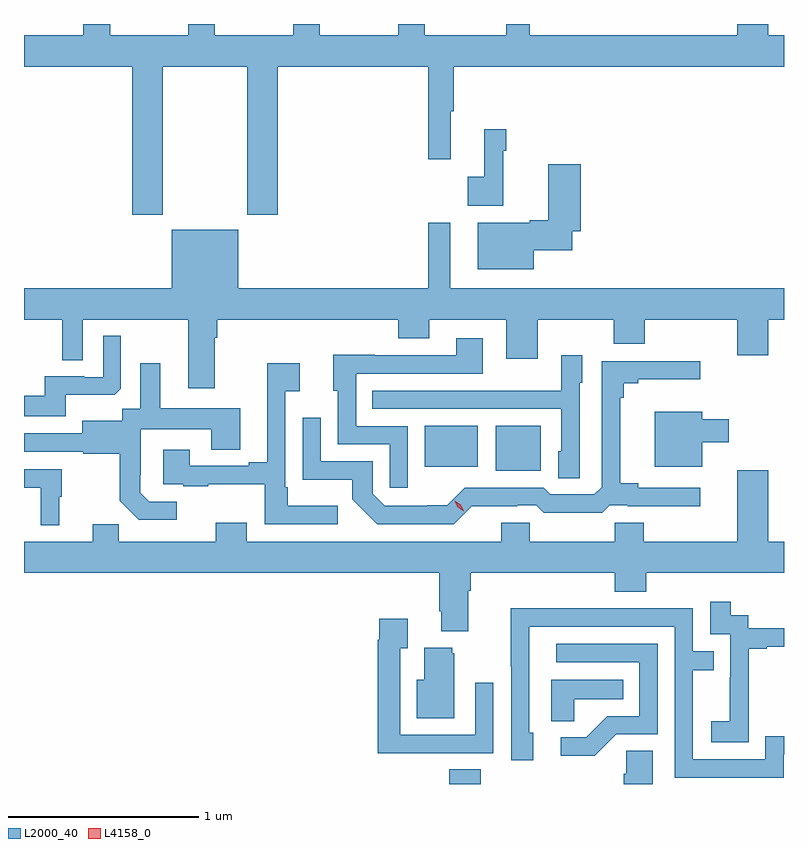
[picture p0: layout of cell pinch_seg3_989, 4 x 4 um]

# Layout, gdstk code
import gdstk
lib = gdstk.Library(unit=1e-6, precision=1e-09)
def R(c, l, rs):  # rectangles x0, y0, x1, y1
    for r in rs: c.add(gdstk.rectangle(r[:2], r[2:], *l))
def P(c, l, *ps):  # polygons
    for p in ps: c.add(gdstk.Polygon(p, *l))
L2000_40 = (2000, 40)
L4158_0 = (4158, 0)

pinch_seg3_989 = lib.new_cell('pinch_seg3_989')
R(pinch_seg3_989, L2000_40, [(451.205,683.82,451.37,683.897), (451.448,685.469,451.687,685.705), (451.076,685.49,451.354,685.705)])
P(pinch_seg3_989, L2000_40, [(449.697,687.596),(450.142,687.596),(450.142,686.817),(450.302,686.817),(450.302,687.596),(451.093,687.596),(451.093,687.108),(451.211,687.108),(451.211,687.36),(451.229,687.36),(451.229,687.596),(452.966,687.596),(452.966,687.76),(452.884,687.76),(452.884,687.82),(452.72,687.82),(452.72,687.76),(451.627,687.76),(451.627,687.82),(451.505,687.82),(451.505,687.76),(451.075,687.76),(451.075,687.82),(450.935,687.82),(450.935,687.76),(450.523,687.76),(450.523,687.82),(450.383,687.82),(450.383,687.76),(449.971,687.76),(449.971,687.82),(449.831,687.82),(449.831,687.76),(449.419,687.76),(449.419,687.82),(449.279,687.82),(449.279,687.76),(448.966,687.76),(448.966,687.596),(449.537,687.596),(449.537,686.817),(449.697,686.817)],
  [(451.488,687.152),(451.505,687.152),(451.505,687.265),(451.388,687.265),(451.388,687.017),(451.302,687.017),(451.302,686.864),(451.488,686.864)],
  [(451.648,686.63),(451.852,686.63),(451.852,686.729),(451.895,686.729),(451.895,687.082),(451.724,687.082),(451.724,686.786),(451.628,686.786),(451.628,686.773),(451.355,686.773),(451.355,686.528),(451.648,686.528)],
  [(449.971,686.168),(449.984,686.168),(449.984,686.264),(450.935,686.264),(450.935,686.165),(451.099,686.165),(451.099,686.264),(451.505,686.264),(451.505,686.058),(451.669,686.058),(451.669,686.264),(452.069,686.264),(452.069,686.136),(452.233,686.136),(452.233,686.264),(452.72,686.264),(452.72,686.076),(452.884,686.076),(452.884,686.264),(452.966,686.264),(452.966,686.428),(451.21,686.428),(451.21,686.773),(451.093,686.773),(451.093,686.428),(450.094,686.428),(450.094,686.737),(449.744,686.737),(449.744,686.428),(448.966,686.428),(448.966,686.264),(449.166,686.264),(449.166,686.05),(449.274,686.05),(449.274,686.264),(449.831,686.264),(449.831,685.902),(449.971,685.902)],
  [(449.185,685.868),(449.443,685.868),(449.475,685.899),(449.475,686.179),(449.382,686.179),(449.382,685.962),(449.282,685.962),(449.282,685.965),(449.075,685.965),(449.075,685.864),(448.966,685.864),(448.966,685.755),(449.185,685.755)],
  [(450.987,685.704),(450.714,685.704),(450.714,685.98),(451.381,685.98),(451.381,686.167),(451.241,686.167),(451.241,686.076),(450.811,686.076),(450.811,686.078),(450.593,686.078),(450.593,685.89),(450.618,685.89),(450.618,685.608),(450.891,685.608),(450.891,685.38),(450.987,685.38)],
  [(451.89,685.932),(451.903,685.932),(451.903,686.077),(451.794,686.077),(451.794,685.891),(451.477,685.891),(451.477,685.89),(450.799,685.89),(450.799,685.794),(451.794,685.794),(451.794,685.572),(451.778,685.572),(451.778,685.429),(451.89,685.429)],
  [(451.322,685.283),(451.562,685.283),(451.562,685.287),(451.662,685.287),(451.702,685.248),(452.009,685.248),(452.049,685.287),(452.143,685.287),(452.143,685.283),(452.524,685.283),(452.524,685.38),(452.2,685.38),(452.2,685.403),(452.105,685.403),(452.105,685.853),(452.123,685.853),(452.123,685.93),(452.2,685.93),(452.2,685.949),(452.524,685.949),(452.524,686.046),(452.007,686.046),(452.007,685.383),(451.968,685.344),(451.737,685.344),(451.701,685.38),(451.287,685.38),(451.193,685.286),(451.088,685.286),(451.088,685.284),(450.864,685.284),(450.801,685.347),(450.801,685.518),(450.528,685.518),(450.528,685.747),(450.432,685.747),(450.432,685.421),(450.694,685.421),(450.694,685.319),(450.824,685.188),(451.227,685.188)],
  [(449.77,685.305),(449.625,685.305),(449.578,685.352),(449.578,685.447),(449.58,685.447),(449.58,685.688),(449.951,685.688),(449.951,685.579),(450.103,685.579),(450.103,685.798),(449.683,685.798),(449.683,686.035),(449.579,686.035),(449.579,685.796),(449.484,685.796),(449.484,685.732),(449.273,685.732),(449.273,685.665),(448.966,685.665),(448.966,685.569),(449.277,685.569),(449.277,685.557),(449.469,685.557),(449.469,685.311),(449.569,685.211),(449.77,685.211)],
  [(450.616,685.285),(450.355,685.285),(450.355,685.381),(450.342,685.381),(450.342,685.886),(450.418,685.886),(450.418,686.035),(450.245,686.035),(450.245,685.513),(450.149,685.513),(450.149,685.494),(449.839,685.494),(449.839,685.579),(449.699,685.579),(449.699,685.398),(449.803,685.398),(449.803,685.386),(449.935,685.386),(449.935,685.397),(450.234,685.397),(450.234,685.188),(450.616,685.188)],
  [(452.536,685.619),(452.674,685.619),(452.674,685.741),(452.536,685.741),(452.536,685.78),(452.285,685.78),(452.285,685.49),(452.536,685.49)],
  [(449.152,685.332),(449.164,685.332),(449.164,685.476),(448.966,685.476),(448.966,685.38),(449.054,685.38),(449.054,685.181),(449.152,685.181)],
  [(452.075,684.833),(452.24,684.833),(452.24,684.932),(452.966,684.932),(452.966,685.096),(452.884,685.096),(452.884,685.471),(452.72,685.471),(452.72,685.096),(452.229,685.096),(452.229,685.194),(452.074,685.194),(452.074,685.096),(451.629,685.096),(451.629,685.194),(451.478,685.194),(451.478,685.096),(450.139,685.096),(450.139,685.195),(449.975,685.195),(449.975,685.096),(449.465,685.096),(449.465,685.187),(449.327,685.187),(449.327,685.096),(448.966,685.096),(448.966,684.932),(451.151,684.932),(451.151,684.73),(451.163,684.73),(451.163,684.623),(451.303,684.623),(451.303,684.836),(451.316,684.836),(451.316,684.932),(452.075,684.932)],
  [(452.781,684.247),(452.78,684.247),(452.78,684.531),(452.875,684.531),(452.875,684.543),(452.966,684.543),(452.966,684.639),(452.778,684.639),(452.778,684.708),(452.686,684.708),(452.686,684.778),(452.577,684.778),(452.577,684.609),(452.682,684.609),(452.682,684.38),(452.681,684.38),(452.681,684.151),(452.583,684.151),(452.583,684.041),(452.781,684.041)],
  [(452.965,683.976),(452.966,683.976),(452.966,684.072),(452.868,684.072),(452.868,683.949),(452.487,683.949),(452.487,684.418),(452.597,684.418),(452.597,684.519),(452.487,684.519),(452.487,684.744),(451.991,684.744),(451.991,684.746),(451.528,684.746),(451.528,684.439),(451.53,684.439),(451.53,683.946),(451.645,683.946),(451.645,684.09),(451.626,684.09),(451.626,684.648),(452.391,684.648),(452.391,683.853),(452.965,683.853)],
  [(451.121,683.982),(451.437,683.982),(451.437,684.352),(451.341,684.352),(451.341,684.078),(450.945,684.078),(450.945,684.535),(450.985,684.535),(450.985,684.691),(450.837,684.691),(450.837,684.578),(450.829,684.578),(450.829,683.981),(451.121,683.981)],
  [(452.082,684.081),(452.301,684.081),(452.301,684.558),(451.767,684.558),(451.767,684.462),(452.205,684.462),(452.205,684.177),(452.036,684.177),(451.925,684.066),(451.791,684.066),(451.791,683.969),(451.969,683.969)],
  [(451.231,684.507),(451.22,684.507),(451.22,684.538),(451.073,684.538),(451.073,684.37),(451.034,684.37),(451.034,684.167),(451.231,684.167)],
  [(451.863,684.266),(452.12,684.266),(452.12,684.37),(451.742,684.37),(451.742,684.151),(451.863,684.151)],
  [(452.275,683.996),(452.136,683.996),(452.136,683.873),(452.123,683.873),(452.123,683.82),(452.275,683.82)])
P(pinch_seg3_989, L4158_0, [(451.281,685.255),(451.249,685.276),(451.233,685.31),(451.233,685.31),(451.233,685.31),(451.264,685.289),(451.281,685.256),(451.281,685.255)])

lib.write_gds('pinch_seg3_989.gds')
